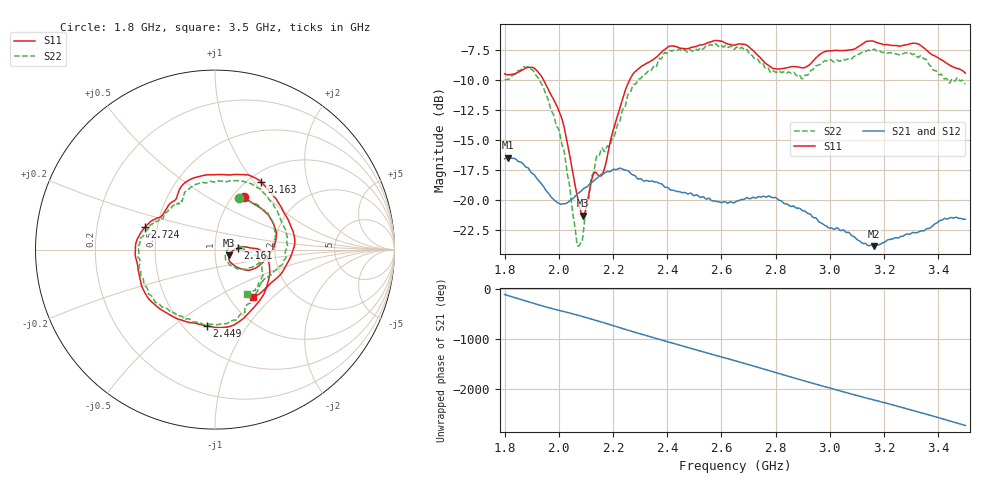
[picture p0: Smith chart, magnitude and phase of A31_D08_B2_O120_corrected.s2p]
! Created with skrf 1.9.0 (http://scikit-rf.org).
# Hz S RI R 50.0
!freq ReS11 ImS11 ReS21 ImS21 ReS12 ImS12 ReS22 ImS22
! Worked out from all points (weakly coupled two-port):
!   1601 points, 1.8 GHz to 3.5 GHz, reference 50 ohm
!   highest |S21| = -16.49 dB at 1.812 GHz (marker M1); lowest = -23.8 dB at 3.162 GHz (marker M2)
!   lowest |S11| = -21.3 dB at 2.09 GHz (marker M3), VSWR 1.19, Z = 58.5 - j3.86 ohm
!   |S11| at or under -10 dB: 1.943 GHz to 2.262 GHz (318.7 MHz wide, 15.2 % of centre)
!   |S22| runs from -23.8 to -7.0 dB; largest |S21 - S12| = 0.0029
!   S11 on the Smith chart (normalised r, x): 1.8 GHz: 1.12, +0.74; 2.161 GHz: 1.29, +0.02; 2.449 GHz: 0.64, -0.67; 2.724 GHz: 0.43, +0.13; 3.163 GHz: 1.15, +1.09; 3.5 GHz: 1.28, -0.76
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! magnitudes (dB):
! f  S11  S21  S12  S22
! 1.8 GHz  -9.5  -16.6  -16.6  -10.0
! 1.812 GHz  -9.6  -16.5  -16.5  -10.0
! 1.885 GHz  -9.0  -17.3  -17.4  -8.9
! 1.94 GHz  -9.9  -18.8  -18.8  -10.5
! 2.013 GHz  -13.3  -20.3  -20.3  -15.4
! 2.066 GHz  -19.4  -19.6  -19.6  -23.4
! 2.084 GHz  -21.1  -19.2  -19.2  -23.5
! 2.09 GHz  -21.3  -19.1  -19.1  -22.8
! 2.125 GHz  -18.0  -18.5  -18.5  -17.9
! 2.161 GHz  -17.8  -17.8  -17.8  -15.7
! 2.26 GHz  -10.1  -17.6  -17.7  -11.1
! 2.367 GHz  -8.0  -18.6  -18.5  -8.4
! 2.449 GHz  -7.4  -19.3  -19.3  -7.5
! 2.65 GHz  -7.1  -20.2  -20.2  -7.4
! 2.724 GHz  -7.8  -19.8  -19.8  -8.3
! 2.797 GHz  -9.1  -19.8  -19.8  -9.3
! 2.934 GHz  -8.6  -21.3  -21.3  -9.2
! 3.162 GHz  -6.8  -23.8  -23.8  -7.5
! 3.163 GHz  -6.8  -23.8  -23.8  -7.5
! 3.217 GHz  -7.1  -23.3  -23.3  -7.8
! 3.324 GHz  -7.0  -22.7  -22.7  -8.1
! 3.5 GHz  -9.5  -21.6  -21.6  -10.4
